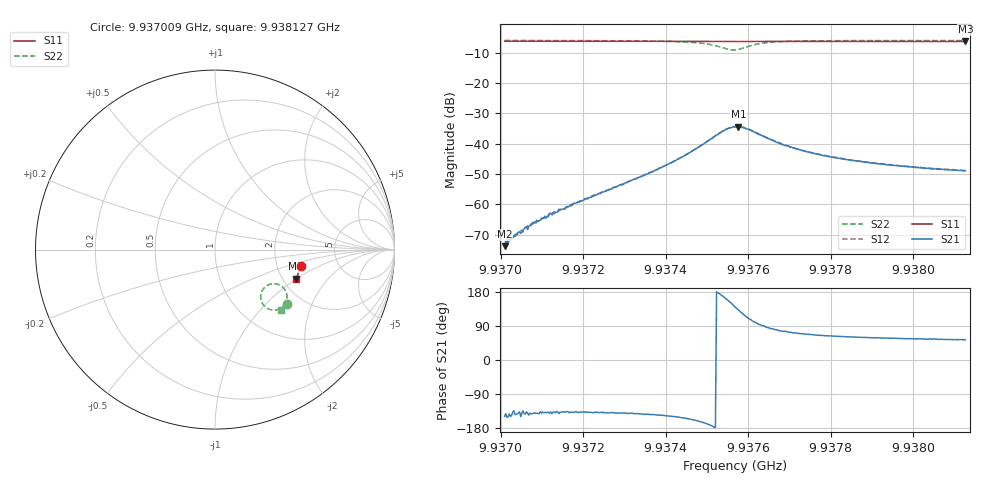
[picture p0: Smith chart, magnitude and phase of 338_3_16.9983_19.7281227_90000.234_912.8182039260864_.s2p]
#  HZ  S  RI  R  50.00
! Rohde & Schwarz Vector Network Analyzer
! Rohde-Schwarz,ZNB20-2Port,1311601062101988,3.16
! Created: UTC 3/20/2024, 11:07:13 PM
! freq[Hz]  re:S11  im:S11  re:S21  im:S21  re:S12  im:S12  re:S22  im:S22
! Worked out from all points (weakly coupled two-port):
!   401 points, 9.937009 GHz to 9.938127 GHz, reference 50 ohm
!   highest |S21| = -34.44 dB at 9.937576 GHz (marker M1); lowest = -73.7 dB at 9.937009 GHz (marker M2)
!   lowest |S11| = -6.4 dB at 9.938127 GHz (marker M3), VSWR 2.85, Z = 118 - j49.5 ohm
!   |S11| at or under -10 dB: nowhere
!   |S22| runs from -9.2 to -6.0 dB; largest |S21 - S12| = 0.00065
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9.9370094e9  0.4765 -0.0887  -0.000176 -0.000107  -0.000188 -0.000108  0.3987 -0.3004
9.9370233e9  0.4762 -0.0897  -0.000225 -0.000137  -0.000215 -0.000117  0.3977 -0.3014
9.9370401e9  0.4759 -0.091  -0.000268 -0.000205  -0.000261 -0.00018  0.3967 -0.3026
9.9370513e9  0.4757 -0.0916  -0.000272 -0.000224  -0.000316 -0.000209  0.3959 -0.3033
9.937082e9  0.475 -0.0937  -0.000388 -0.000328  -0.000414 -0.00034  0.3937 -0.3055
9.9371099e9  0.4747 -0.0956  -0.00045 -0.000388  -0.00048 -0.000418  0.3915 -0.3077
9.9371239e9  0.4743 -0.0966  -0.000538 -0.000429  -0.000493 -0.000428  0.3904 -0.3086
9.9371379e9  0.4741 -0.0975  -0.00054 -0.000517  -0.000572 -0.000503  0.3893 -0.3097
9.9371965e9  0.4729 -0.1015  -0.000842 -0.000759  -0.000844 -0.000785  0.3841 -0.3146
9.9373836e9  0.4692 -0.1142  -0.00321 -0.00222  -0.00326 -0.00219  0.3548 -0.3319
9.9374451e9  0.4676 -0.1184  -0.00564 -0.00287  -0.00572 -0.00283  0.3318 -0.3365
9.9375037e9  0.4658 -0.1222  -0.011 -0.00193  -0.0112 -0.00179  0.2874 -0.3243
9.9375429e9  0.4642 -0.1241  -0.0161 0.00454  -0.0162 0.00464  0.2546 -0.2691
9.937568e9  0.4637 -0.1248  -0.0143 0.0121  -0.0146 0.0126  0.2761 -0.211
9.9375764e9  0.4637 -0.125  -0.0127 0.0141  -0.0126 0.0145  0.2941 -0.1979
9.9376015e9  0.4639 -0.1264  -0.00569 0.016  -0.00557 0.0165  0.3514 -0.1937
9.9376378e9  0.4639 -0.1291  4.25e-05 0.0129  0.000492 0.0133  0.392 -0.228
9.9376825e9  0.4631 -0.1322  0.00227 0.00934  0.00246 0.00955  0.4015 -0.2613
9.9377551e9  0.4616 -0.1374  0.00277 0.00645  0.00295 0.00651  0.3973 -0.29
9.9378473e9  0.4594 -0.1434  0.00261 0.00469  0.0027 0.00468  0.3888 -0.308
9.9379423e9  0.457 -0.1496  0.00239 0.00376  0.0025 0.00378  0.3811 -0.3194
9.9381266e9  0.4522 -0.1615  0.00213 0.00288  0.0022 0.00288  0.3684 -0.3345
